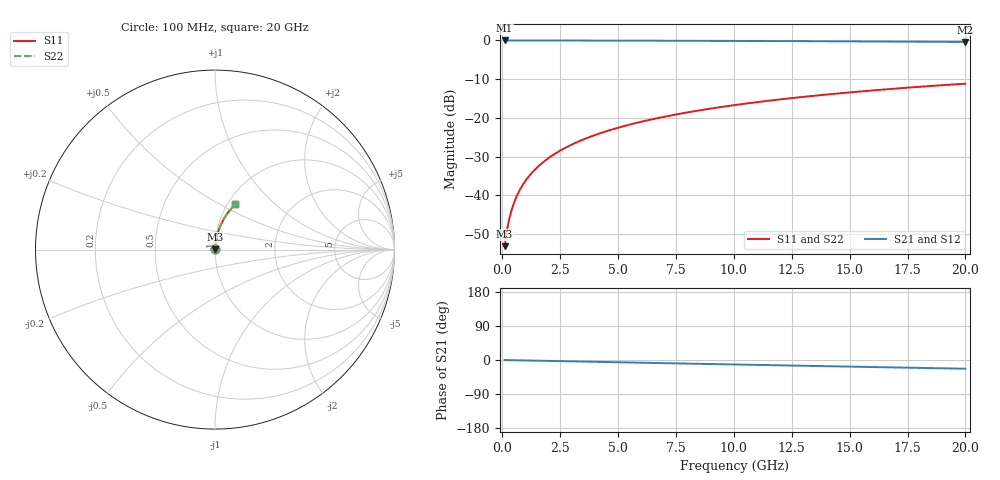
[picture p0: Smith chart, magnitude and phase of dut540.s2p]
! Touchstone file exported from HFSS 2026.1.0
!  File:  C:/ffzhzh/LocalFiles/Ansys_Project_Files/temp_train_TMRDL_540_1783007451_55676.aedt
!  Generated:  11:52:13 PM Jul  2, 2026
!  Design:  TMRDL
!  Project:  temp_train_TMRDL_540_1783007451_55676
! Variables:
!  h_bsmrdl = 2um
!  h_ox = 20um
!  h_rdl = 5um
!  h_sub = 80um
!  h_tmrdl = 4.24um
!  h_tsv = 80um
!  h_via = 3um
!  l_bsmrdl = 300um
!  l_sub = 658.18um
!  l_tmrdl = 258.18um
!  m_sub = 200um
!  pitch = 54.09um
!  r_tsv = 6um
!  s_tmrdl = 10um
!  w_bsmrdl = 18um
!  w_sub = 500um
!  w_tmrdl = 15.33um
!  x_tsv_center1 = 265.845um
!  x_tsv_center2 = 583.845um
!  x_tsv_center3 = 857.355um
!  x_tsv_center4 = 1175.355um
!  x_tsv_center5 = 1448.865um
!  x_tsv_center6 = 1766.865um
# GHz S MA R 50.000000
! Terminal data exported
! Port[1] = TM_RDL1_1_T1
! Port[2] = TM_RDL1_1_T2
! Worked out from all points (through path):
!   200 points, 100 MHz to 20 GHz, reference 50 ohm
!   highest |S21| = -0.01 dB at 100 MHz (marker M1); lowest = -0.4 dB at 20 GHz (marker M2)
!   group delay of S21, straight-line fit = 3.19 ps
!   lowest |S11| = -53.1 dB at 100 MHz (marker M3), VSWR 1.00, Z = 50.2 + j0.157 ohm
!   |S11| at or under -10 dB: start of sweep to end of sweep
!   |S22| runs from -53.1 to -11.2 dB; largest |S21 - S12| = 2.6e-15
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0.1  0.002204 45.4  0.9985 -0.1  0.9985 -0.1  0.002204 45.4
! Gamma 0 0 0 0
! Port Impedance 50 0 50 0
0.2  0.003508 63.1  0.9984 -0.2  0.9984 -0.2  0.003508 63.1
0.3  0.004951 70.6  0.9984 -0.4  0.9984 -0.4  0.00495 70.6
0.4  0.006426 74.5  0.9983 -0.5  0.9983 -0.5  0.006426 74.5
0.5  0.007911 77.0  0.9983 -0.6  0.9983 -0.6  0.007909 77.0
0.7  0.01088 79.8  0.9982 -0.9  0.9982 -0.9  0.01088 79.8
0.8  0.01237 80.7  0.9982 -1.0  0.9982 -1.0  0.01237 80.7
1  0.01535 81.9  0.9981 -1.2  0.9981 -1.2  0.01535 81.9
1.2  0.01834 82.6  0.998 -1.5  0.998 -1.5  0.01833 82.6
1.4  0.02132 83.1  0.9979 -1.7  0.9979 -1.7  0.02132 83.1
1.7  0.0258 83.5  0.9977 -2.1  0.9977 -2.1  0.0258 83.5
2  0.03028 83.7  0.9975 -2.4  0.9975 -2.4  0.03028 83.7
2.7  0.04071 83.6  0.997 -3.3  0.997 -3.3  0.04071 83.6
3.5  0.05257 83.1  0.9962 -4.2  0.9962 -4.2  0.05257 83.1
4.2  0.06289 82.5  0.9954 -5.1  0.9954 -5.1  0.06289 82.5
5  0.07459 81.8  0.9943 -6.0  0.9943 -6.0  0.07459 81.8
6.8  0.1006 79.9  0.9914 -8.1  0.9914 -8.1  0.1006 79.9
8.3  0.1219 78.3  0.9886 -9.9  0.9886 -9.9  0.1219 78.3
10.1  0.1471 76.3  0.9847 -11.9  0.9847 -11.9  0.1471 76.3
13.4  0.192 72.7  0.9762 -15.7  0.9762 -15.7  0.192 72.7
16.7  0.2351 69.2  0.9662 -19.4  0.9662 -19.4  0.2351 69.2
20  0.2763 65.7  0.9549 -23.0  0.9549 -23.0  0.2763 65.7
